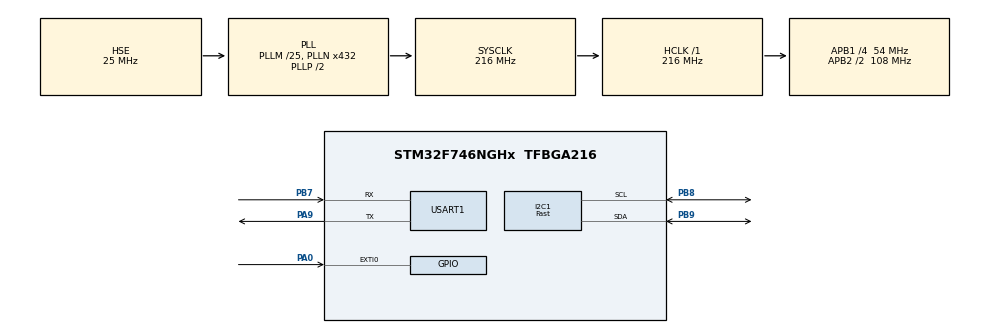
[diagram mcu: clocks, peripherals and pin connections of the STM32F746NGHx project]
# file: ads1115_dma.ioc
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Dma.I2C1_RX.0.Direction=DMA_PERIPH_TO_MEMORY
Dma.I2C1_RX.0.FIFOMode=DMA_FIFOMODE_DISABLE
Dma.I2C1_RX.0.Instance=DMA1_Stream0
Dma.I2C1_RX.0.MemDataAlignment=DMA_MDATAALIGN_BYTE
Dma.I2C1_RX.0.MemInc=DMA_MINC_ENABLE
Dma.I2C1_RX.0.Mode=DMA_NORMAL
Dma.I2C1_RX.0.PeriphDataAlignment=DMA_PDATAALIGN_BYTE
Dma.I2C1_RX.0.PeriphInc=DMA_PINC_DISABLE
Dma.I2C1_RX.0.Priority=DMA_PRIORITY_LOW
Dma.Request0=I2C1_RX
I2C1.I2C_Speed_Mode=I2C_Fast
I2C1.Timing=0x6000030D
Mcu.Family=STM32F7
Mcu.Name=STM32F746NGHx
Mcu.Package=TFBGA216
NVIC.DMA1_Stream0_IRQn=true\:0\:0\:false\:false\:true\:false\:true\:true
NVIC.PriorityGroup=NVIC_PRIORITYGROUP_4
PA0/WKUP.GPIO_ModeDefaultEXTI=GPIO_MODE_IT_FALLING
PA0/WKUP.Signal=GPXTI0
PA13.Mode=Serial_Wire
PA13.Signal=SYS_JTMS-SWDIO
PA14.Mode=Serial_Wire
PA14.Signal=SYS_JTCK-SWCLK
PA9.Mode=Asynchronous
PA9.Signal=USART1_TX
PB7.Mode=Asynchronous
PB7.Signal=USART1_RX
PB8.Mode=I2C
PB8.Signal=I2C1_SCL
PB9.Mode=I2C
PB9.Signal=I2C1_SDA
PH0/OSC_IN.Mode=HSE-External-Oscillator
PH0/OSC_IN.Signal=RCC_OSC_IN
PH1/OSC_OUT.Mode=HSE-External-Oscillator
PH1/OSC_OUT.Signal=RCC_OSC_OUT
ProjectManager.HeapSize=0x200
ProjectManager.StackSize=0x400
ProjectManager.TargetToolchain=STM32CubeIDE
RCC.AHBFreq_Value=216000000
RCC.APB1CLKDivider=RCC_HCLK_DIV4
RCC.APB1Freq_Value=54000000
RCC.APB1TimFreq_Value=108000000
RCC.APB2CLKDivider=RCC_HCLK_DIV2
RCC.APB2Freq_Value=108000000
RCC.APB2TimFreq_Value=216000000
RCC.CortexFreq_Value=216000000
RCC.HCLKFreq_Value=216000000
RCC.HSE_VALUE=25000000
RCC.HSI_VALUE=16000000
RCC.PLL48CLockSelection=RCC_CLK48SOURCE_PLLSAIP
RCC.PLLI2SN=100
RCC.PLLM=25
RCC.PLLN=432
RCC.PLLQ=9
RCC.PLLSAIN=384
RCC.PLLSAIP=RCC_PLLSAIP_DIV8
RCC.PLLSAIR=5
RCC.PLLSAIRDiv=RCC_PLLSAIDIVR_8
RCC.PLLSourceVirtual=RCC_PLLSOURCE_HSE
RCC.SDMMCClockSelection=RCC_SDMMC1CLKSOURCE_CLK48
RCC.SYSCLKFreq_VALUE=216000000
RCC.SYSCLKSource=RCC_SYSCLKSOURCE_PLLCLK
RCC.USBFreq_Value=48000000
RCC.VCOOutputFreq_Value=432000000
USART1.VirtualMode-Asynchronous=VM_ASYNC
board=STM32F746G-DISCO

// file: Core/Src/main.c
/* USER CODE BEGIN Header */
/**
  ******************************************************************************
  * @file           : main.c
  * @brief          : Main program body
  ******************************************************************************
  * @attention
  *
  * Copyright (c) 2025 STMicroelectronics.
  * All rights reserved.
  *
  * This software is licensed under terms that can be found in the LICENSE file
  * in the root directory of this software component.
  * If no LICENSE file comes with this software, it is provided AS-IS.
  *
  ******************************************************************************
  */
/* USER CODE END Header */
#include "main.h"
#include "ADS1115.h"
#include <string.h>
#include <stdio.h>

I2C_HandleTypeDef hi2c1;
DMA_HandleTypeDef hdma_i2c1_rx;

UART_HandleTypeDef huart1;

/* USER CODE BEGIN PV */
int __io_putchar(int ch)
{
    uint8_t c = (uint8_t)ch;
    HAL_UART_Transmit(&huart1, &c, 1, HAL_MAX_DELAY);
    return ch;
}

int fputc(int ch, FILE *f)
{
    return __io_putchar(ch);
}
/* USER CODE END PV */

void SystemClock_Config(void);
static void MX_GPIO_Init(void);
static void MX_DMA_Init(void);
static void MX_I2C1_Init(void);
static void MX_USART1_UART_Init(void);
/* USER CODE BEGIN PFP */
void HAL_I2C_MemRxCpltCallback(I2C_HandleTypeDef *hi2c)
{
    if (hi2c == &hi2c1) {
        extern volatile uint8_t ads_dma_done;
        ads_dma_done = 1;
    }
}

volatile uint8_t exti_alert_flag = 0;

void HAL_GPIO_EXTI_Callback(uint16_t GPIO_Pin)
{
    /* change PA0 if you used another pin */
    if (GPIO_Pin == GPIO_PIN_0) {
        exti_alert_flag = 1;
    }
}
/* USER CODE END PFP */

int main(void)
{

  /* MCU Configuration--------------------------------------------------------*/

  /* Reset of all peripherals, Initializes the Flash interface and the Systick. */
  HAL_Init();

  /* Configure the system clock */
  SystemClock_Config();

  /* Initialize all configured peripherals */
  MX_GPIO_Init();
  MX_DMA_Init();
  MX_I2C1_Init();
  MX_USART1_UART_Init();
  /* USER CODE BEGIN 2 */
  /* Inform user */
  printf("\r\n---- ADS1115 DMA demo (STM32F746G-DISCO) ----\r\n");

     /* Init ADS1115: hi2c1, address 0x48 (ADDR->GND), PGA +/-2.048, DR 250SPS */
  ADS1115_Init(&hi2c1, ADS1115_ADDRESS_GND, ADS_PGA_2_048, ADS_DR_250SPS);
  printf("ADS1115 init done. Waiting for ALERT (PA2) to pulse each conversion...\r\n");
  /* USER CODE END 2 */

  /* Infinite loop */
  while (1)
  {
	/* Wait for ALERT EXTI (rising or falling depending on comp_pol), exti_alert_flag set in EXTI callback */
	if (exti_alert_flag) {
		exti_alert_flag = 0;

	    /* Start DMA read and block for completion (timeout 200 ms) */
	    int16_t raw;
	    if (ADS1115_ReadRaw_DMA_Blocking(&raw, 200) == 0) {
	    	float volts;
	        float fs = 2.048f; // as configured PGA
	        volts = ((float)raw) * (fs / 32768.0f);
	        printf("RAW: %d, V = %.6f V\r\n", raw, volts);
	    } else {
	    	printf("ADS1115 DMA read timeout/error\r\n");
	    }
	}
	HAL_Delay(1);
  }
}

void SystemClock_Config(void)
{
  RCC_OscInitTypeDef RCC_OscInitStruct = {0};
  RCC_ClkInitTypeDef RCC_ClkInitStruct = {0};

  /** Configure the main internal regulator output voltage
  */
  __HAL_RCC_PWR_CLK_ENABLE();
  __HAL_PWR_VOLTAGESCALING_CONFIG(PWR_REGULATOR_VOLTAGE_SCALE1);

  /** Initializes the RCC Oscillators according to the specified parameters
  * in the RCC_OscInitTypeDef structure.
  */
  RCC_OscInitStruct.OscillatorType = RCC_OSCILLATORTYPE_HSE;
  RCC_OscInitStruct.HSEState = RCC_HSE_ON;
  RCC_OscInitStruct.PLL.PLLState = RCC_PLL_ON;
  RCC_OscInitStruct.PLL.PLLSource = RCC_PLLSOURCE_HSE;
  RCC_OscInitStruct.PLL.PLLM = 25;
  RCC_OscInitStruct.PLL.PLLN = 432;
  RCC_OscInitStruct.PLL.PLLP = RCC_PLLP_DIV2;
  RCC_OscInitStruct.PLL.PLLQ = 9;
  if (HAL_RCC_OscConfig(&RCC_OscInitStruct) != HAL_OK)
  {
    Error_Handler();
  }

  /** Activate the Over-Drive mode
  */
  if (HAL_PWREx_EnableOverDrive() != HAL_OK)
  {
    Error_Handler();
  }

  /** Initializes the CPU, AHB and APB buses clocks
  */
  RCC_ClkInitStruct.ClockType = RCC_CLOCKTYPE_HCLK|RCC_CLOCKTYPE_SYSCLK
                              |RCC_CLOCKTYPE_PCLK1|RCC_CLOCKTYPE_PCLK2;
  RCC_ClkInitStruct.SYSCLKSource = RCC_SYSCLKSOURCE_PLLCLK;
  RCC_ClkInitStruct.AHBCLKDivider = RCC_SYSCLK_DIV1;
  RCC_ClkInitStruct.APB1CLKDivider = RCC_HCLK_DIV4;
  RCC_ClkInitStruct.APB2CLKDivider = RCC_HCLK_DIV2;

  if (HAL_RCC_ClockConfig(&RCC_ClkInitStruct, FLASH_LATENCY_7) != HAL_OK)
  {
    Error_Handler();
  }
}

static void MX_I2C1_Init(void)
{

  hi2c1.Instance = I2C1;
  hi2c1.Init.Timing = 0x6000030D;
  hi2c1.Init.OwnAddress1 = 0;
  hi2c1.Init.AddressingMode = I2C_ADDRESSINGMODE_7BIT;
  hi2c1.Init.DualAddressMode = I2C_DUALADDRESS_DISABLE;
  hi2c1.Init.OwnAddress2 = 0;
  hi2c1.Init.OwnAddress2Masks = I2C_OA2_NOMASK;
  hi2c1.Init.GeneralCallMode = I2C_GENERALCALL_DISABLE;
  hi2c1.Init.NoStretchMode = I2C_NOSTRETCH_DISABLE;
  if (HAL_I2C_Init(&hi2c1) != HAL_OK)
  {
    Error_Handler();
  }

  /** Configure Analogue filter
  */
  if (HAL_I2CEx_ConfigAnalogFilter(&hi2c1, I2C_ANALOGFILTER_ENABLE) != HAL_OK)
  {
    Error_Handler();
  }

  /** Configure Digital filter
  */
  if (HAL_I2CEx_ConfigDigitalFilter(&hi2c1, 0) != HAL_OK)
  {
    Error_Handler();
  }

}

static void MX_USART1_UART_Init(void)
{

  huart1.Instance = USART1;
  huart1.Init.BaudRate = 115200;
  huart1.Init.WordLength = UART_WORDLENGTH_8B;
  huart1.Init.StopBits = UART_STOPBITS_1;
  huart1.Init.Parity = UART_PARITY_NONE;
  huart1.Init.Mode = UART_MODE_TX_RX;
  huart1.Init.HwFlowCtl = UART_HWCONTROL_NONE;
  huart1.Init.OverSampling = UART_OVERSAMPLING_16;
  huart1.Init.OneBitSampling = UART_ONE_BIT_SAMPLE_DISABLE;
  huart1.AdvancedInit.AdvFeatureInit = UART_ADVFEATURE_NO_INIT;
  if (HAL_UART_Init(&huart1) != HAL_OK)
  {
    Error_Handler();
  }

}

static void MX_DMA_Init(void)
{

  /* DMA controller clock enable */
  __HAL_RCC_DMA1_CLK_ENABLE();

  /* DMA interrupt init */
  /* DMA1_Stream0_IRQn interrupt configuration */
  HAL_NVIC_SetPriority(DMA1_Stream0_IRQn, 0, 0);
  HAL_NVIC_EnableIRQ(DMA1_Stream0_IRQn);

}

static void MX_GPIO_Init(void)
{
  GPIO_InitTypeDef GPIO_InitStruct = {0};

  /* GPIO Ports Clock Enable */
  __HAL_RCC_GPIOB_CLK_ENABLE();
  __HAL_RCC_GPIOA_CLK_ENABLE();
  __HAL_RCC_GPIOH_CLK_ENABLE();

  /*Configure GPIO pin : PA0 */
  GPIO_InitStruct.Pin = GPIO_PIN_0;
  GPIO_InitStruct.Mode = GPIO_MODE_IT_FALLING;
  GPIO_InitStruct.Pull = GPIO_NOPULL;
  HAL_GPIO_Init(GPIOA, &GPIO_InitStruct);

}

void Error_Handler(void)
{
  __disable_irq();
  while (1)
  {
  }
}
